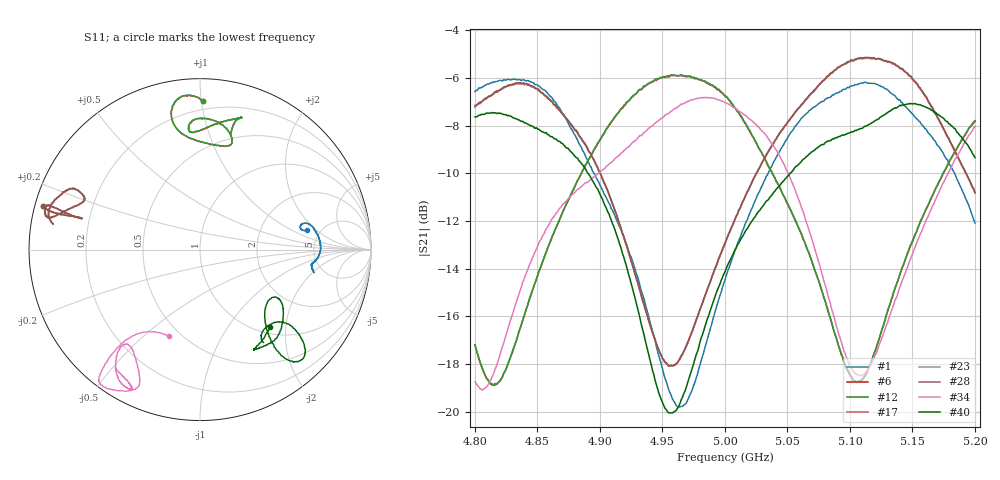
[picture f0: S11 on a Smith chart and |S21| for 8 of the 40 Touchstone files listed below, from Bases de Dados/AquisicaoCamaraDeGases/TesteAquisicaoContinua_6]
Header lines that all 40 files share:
! Network Analyzer HP8722D
! Hewlett-Packard
! Data name: Linha & Wilkinson
! Saver's name: Rodrigo Anjos
! Comments: Teste da utilização de aquisição
! continua pelo VNA HP8722D
!  Frequency  S11  S21  S12  S22
# HZ  S  MA R 50
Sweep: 4.8 GHz to 5.2 GHz
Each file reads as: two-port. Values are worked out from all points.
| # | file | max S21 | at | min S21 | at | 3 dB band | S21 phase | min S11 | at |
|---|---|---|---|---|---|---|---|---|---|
| 1 | teste_arseco&H20_100-50_0.S2P | -6.05 dB | 4.832 GHz | -19.8 dB | 4.964 GHz | 5.044 GHz-5.173 GHz | -108 deg at 5 GHz | -4.5 dB | 4.833 GHz |
| 2 | teste_arseco&H20_100-50_1.S2P | -6.05 dB | 4.831 GHz | -19.8 dB | 4.963 GHz | 5.044 GHz-5.172 GHz | -108 deg at 5 GHz | -4.4 dB | 4.832 GHz |
| 3 | teste_arseco&H20_100-50_2.S2P | -6.04 dB | 4.832 GHz | -19.9 dB | 4.964 GHz | 5.044 GHz-5.173 GHz | -108 deg at 5 GHz | -4.4 dB | 4.831 GHz |
| 4 | teste_arseco&H20_100-50_3.S2P | -6.05 dB | 4.831 GHz | -19.8 dB | 4.966 GHz | 5.044 GHz-5.173 GHz | -108 deg at 5 GHz | -4.4 dB | 4.836 GHz |
| 5 | teste_arseco&H20_100-50_4.S2P | -5.89 dB | 4.963 GHz | -18.9 dB | 4.815 GHz | 4.897 GHz-5.026 GHz | -54 deg at 5 GHz | -4.2 dB | 4.913 GHz |
| 6 | teste_arseco&H20_100-50_5.S2P | -5.87 dB | 4.957 GHz | -18.9 dB | 4.815 GHz | 4.897 GHz-5.026 GHz | -54 deg at 5 GHz | -4.2 dB | 4.915 GHz |
| 7 | teste_arseco&H20_100-50_6.S2P | -5.88 dB | 4.963 GHz | -18.9 dB | 4.815 GHz | 4.897 GHz-5.026 GHz | -54 deg at 5 GHz | -4.2 dB | 4.917 GHz |
| 8 | teste_arseco&H20_100-50_7.S2P | -5.87 dB | 4.965 GHz | -18.9 dB | 4.815 GHz | 4.898 GHz-5.026 GHz | -54 deg at 5 GHz | -4.2 dB | 4.915 GHz |
| 9 | teste_arseco&H20_100-50_8.S2P | -5.88 dB | 4.967 GHz | -18.9 dB | 4.815 GHz | 4.897 GHz-5.026 GHz | -54 deg at 5 GHz | -4.2 dB | 4.915 GHz |
| 10 | teste_arseco&H20_100-50_9.S2P | -5.87 dB | 4.965 GHz | -18.9 dB | 4.815 GHz | 4.897 GHz-5.026 GHz | -54 deg at 5 GHz | -4.2 dB | 4.912 GHz |
| 11 | teste_arseco&H20_100-50_10.S2P | -5.87 dB | 4.957 GHz | -18.9 dB | 4.815 GHz | 4.897 GHz-5.026 GHz | -54 deg at 5 GHz | -4.2 dB | 4.916 GHz |
| 12 | teste_arseco&H20_100-50_11.S2P | -5.86 dB | 4.965 GHz | -18.9 dB | 4.815 GHz | 4.897 GHz-5.026 GHz | -54 deg at 5 GHz | -4.2 dB | 4.916 GHz |
| 13 | teste_arseco&H20_100-50_12.S2P | -5.85 dB | 4.957 GHz | -18.9 dB | 4.815 GHz | 4.898 GHz-5.026 GHz | -54 deg at 5 GHz | -4.2 dB | 4.919 GHz |
| 14 | teste_arseco&H20_100-50_13.S2P | -5.17 dB | 5.111 GHz | -18.1 dB | 4.956 GHz | 5.047 GHz-5.175 GHz | 121 deg at 5 GHz | -2.9 dB | 4.895 GHz |
| 15 | teste_arseco&H20_100-50_14.S2P | -5.16 dB | 5.114 GHz | -18.1 dB | 4.958 GHz | 5.047 GHz-5.175 GHz | 122 deg at 5 GHz | -2.9 dB | 4.891 GHz |
| 16 | teste_arseco&H20_100-50_15.S2P | -5.15 dB | 5.111 GHz | -18.1 dB | 4.955 GHz | 5.047 GHz-5.174 GHz | 121 deg at 5 GHz | -2.9 dB | 4.891 GHz |
| 17 | teste_arseco&H20_100-50_16.S2P | -5.17 dB | 5.116 GHz | -18.1 dB | 4.956 GHz | 5.047 GHz-5.175 GHz | 122 deg at 5 GHz | -2.9 dB | 4.891 GHz |
| 18 | teste_arseco&H20_100-50_17.S2P | -5.15 dB | 5.113 GHz | -18.1 dB | 4.957 GHz | 5.047 GHz-5.174 GHz | 121 deg at 5 GHz | -2.9 dB | 4.895 GHz |
| 19 | teste_arseco&H20_100-50_18.S2P | -5.16 dB | 5.116 GHz | -18.1 dB | 4.958 GHz | 5.047 GHz-5.175 GHz | 122 deg at 5 GHz | -2.9 dB | 4.892 GHz |
| 20 | teste_arseco&H20_100-50_19.S2P | -5.17 dB | 5.117 GHz | -18.1 dB | 4.957 GHz | 5.046 GHz-5.174 GHz | 121 deg at 5 GHz | -2.9 dB | 4.892 GHz |
| 21 | teste_arseco&H20_100-50_20.S2P | -5.15 dB | 5.118 GHz | -18.1 dB | 4.958 GHz | 5.047 GHz-5.174 GHz | 121 deg at 5 GHz | -2.9 dB | 4.891 GHz |
| 22 | teste_arseco&H20_100-50_21.S2P | -5.15 dB | 5.113 GHz | -18.1 dB | 4.956 GHz | 5.047 GHz-5.175 GHz | 122 deg at 5 GHz | -2.9 dB | 4.891 GHz |
| 23 | teste_arseco&H20_100-50_22.S2P | -5.15 dB | 5.115 GHz | -18.1 dB | 4.956 GHz | 5.047 GHz-5.174 GHz | 121 deg at 5 GHz | -2.9 dB | 4.891 GHz |
| 24 | teste_arseco&H20_100-50_23.S2P | -5.14 dB | 5.118 GHz | -18.1 dB | 4.958 GHz | 5.047 GHz-5.175 GHz | 121 deg at 5 GHz | -2.9 dB | 4.889 GHz |
| 25 | teste_arseco&H20_100-50_24.S2P | -5.15 dB | 5.118 GHz | -18.1 dB | 4.958 GHz | 5.047 GHz-5.175 GHz | 122 deg at 5 GHz | -2.9 dB | 4.892 GHz |
| 26 | teste_arseco&H20_100-50_25.S2P | -5.15 dB | 5.115 GHz | -18.1 dB | 4.956 GHz | 5.047 GHz-5.175 GHz | 121 deg at 5 GHz | -2.9 dB | 4.891 GHz |
| 27 | teste_arseco&H20_100-50_26.S2P | -5.14 dB | 5.114 GHz | -18.1 dB | 4.958 GHz | 5.047 GHz-5.174 GHz | 122 deg at 5 GHz | -2.9 dB | 4.891 GHz |
| 28 | teste_arseco&H20_100-50_27.S2P | -5.14 dB | 5.113 GHz | -18.1 dB | 4.955 GHz | 5.047 GHz-5.174 GHz | 122 deg at 5 GHz | -2.9 dB | 4.891 GHz |
| 29 | teste_arseco&H20_100-50_28.S2P | -5.14 dB | 5.114 GHz | -18.1 dB | 4.958 GHz | 5.047 GHz-5.175 GHz | 121 deg at 5 GHz | -2.9 dB | 4.892 GHz |
| 30 | teste_arseco&H20_100-50_29.S2P | -5.15 dB | 5.111 GHz | -18.1 dB | 4.955 GHz | 5.047 GHz-5.175 GHz | 122 deg at 5 GHz | -2.9 dB | 4.891 GHz |
| 31 | teste_arseco&H20_100-50_30.S2P | -5.14 dB | 5.115 GHz | -18.1 dB | 4.956 GHz | 5.047 GHz-5.175 GHz | 122 deg at 5 GHz | -2.9 dB | 4.891 GHz |
| 32 | teste_arseco&H20_100-50_31.S2P | -5.12 dB | 5.115 GHz | -18.1 dB | 4.957 GHz | 5.047 GHz-5.174 GHz | 122 deg at 5 GHz | -2.9 dB | 4.891 GHz |
| 33 | teste_arseco&H20_100-50_32.S2P | -5.13 dB | 5.115 GHz | -18.1 dB | 4.956 GHz | 5.047 GHz-5.174 GHz | 122 deg at 5 GHz | -2.9 dB | 4.891 GHz |
| 34 | teste_arseco&H20_100-50_33.S2P | -6.81 dB | 4.985 GHz | -19.1 dB | 4.806 GHz | 4.904 GHz-5.048 GHz | -169 deg at 5 GHz | -5.4 dB | 4.804 GHz |
| 35 | teste_arseco&H20_100-50_34.S2P | -7.09 dB | 5.149 GHz | -20.1 dB | 4.955 GHz | 5.051 GHz-5.2 GHz | -9 deg at 5 GHz | -6.0 dB | 4.973 GHz |
| 36 | teste_arseco&H20_100-50_35.S2P | -7.07 dB | 5.149 GHz | -20.1 dB | 4.955 GHz | 5.052 GHz-5.2 GHz | -9 deg at 5 GHz | -6.1 dB | 4.971 GHz |
| 37 | teste_arseco&H20_100-50_36.S2P | -7.07 dB | 5.149 GHz | -20.1 dB | 4.958 GHz | 5.052 GHz-5.2 GHz | -9 deg at 5 GHz | -6.0 dB | 4.969 GHz |
| 38 | teste_arseco&H20_100-50_37.S2P | -7.07 dB | 5.149 GHz | -20.1 dB | 4.957 GHz | 5.052 GHz-5.2 GHz | -9 deg at 5 GHz | -6.0 dB | 4.971 GHz |
| 39 | teste_arseco&H20_100-50_38.S2P | -7.08 dB | 5.15 GHz | -20.1 dB | 4.955 GHz | 5.052 GHz-5.2 GHz | -9 deg at 5 GHz | -6.0 dB | 4.971 GHz |
| 40 | teste_arseco&H20_100-50_39.S2P | -7.08 dB | 5.148 GHz | -20.0 dB | 4.958 GHz | 5.052 GHz-5.2 GHz | -9 deg at 5 GHz | -6.0 dB | 4.972 GHz |
